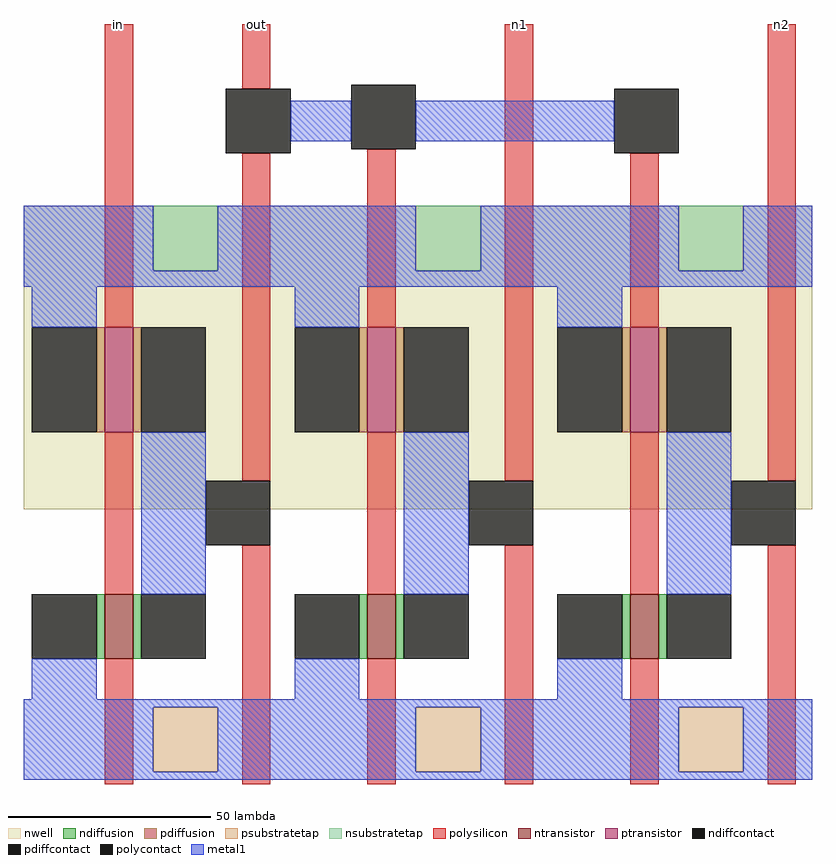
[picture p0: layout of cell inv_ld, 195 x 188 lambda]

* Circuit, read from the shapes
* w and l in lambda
.subckt inv_ld GND! Vdd! in n1 n2 out
M1 out in GND! VSUBS nfet w=16 l=7
M2 n1 out GND! VSUBS nfet w=16 l=7
M3 n2 out GND! VSUBS nfet w=16 l=7
M4 out in Vdd! n3 pfet w=26 l=7
M5 n1 out Vdd! n3 pfet w=26 l=7
M6 n2 out Vdd! n3 pfet w=26 l=7
.ends

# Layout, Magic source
magic
tech c035u
<< polysilicon >>
rect 20 144 27 188
rect 54 172 61 188
rect 54 144 61 156
rect 85 144 92 157
rect 119 144 126 188
rect 150 144 157 156
rect 184 144 191 188
<< polycontact >>
rect 50 156 66 172
rect 81 157 97 173
rect 146 156 162 172
<< metal1 >>
rect 66 159 81 169
rect 97 159 146 169
use inv inv_0
transform 1 0 0 0 1 0
box 0 0 65 144
use inv inv_1
transform 1 0 65 0 1 0
box 0 0 65 144
use inv inv_2
transform 1 0 130 0 1 0
box 0 0 65 144
<< labels >>
rlabel polysilicon 20 188 27 188 5 in
rlabel polysilicon 54 188 61 188 5 out
rlabel polysilicon 119 188 126 188 5 n1
rlabel polysilicon 184 188 191 188 5 n2
<< end >>

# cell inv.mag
magic
tech c035u
<< nwell >>
rect 0 68 65 143
<< polysilicon >>
rect 20 113 27 144
rect 20 47 27 87
rect 54 75 61 144
rect 20 0 27 31
rect 54 0 61 59
<< ndiffusion >>
rect 18 31 20 47
rect 27 31 29 47
<< pdiffusion >>
rect 18 87 20 113
rect 27 87 29 113
<< ntransistor >>
rect 20 31 27 47
<< ptransistor >>
rect 20 87 27 113
<< polycontact >>
rect 45 59 61 75
<< ndiffcontact >>
rect 2 31 18 47
rect 29 31 45 47
<< pdiffcontact >>
rect 2 87 18 113
rect 29 87 45 113
<< psubstratetap >>
rect 32 3 48 19
<< nsubstratetap >>
rect 32 127 48 143
<< metal1 >>
rect 0 127 32 143
rect 48 127 65 143
rect 0 123 65 127
rect 2 113 18 123
rect 29 47 45 87
rect 2 21 18 31
rect 0 19 65 21
rect 0 3 32 19
rect 48 3 65 19
rect 0 1 65 3
<< labels >>
rlabel metal1 0 123 0 143 3 Vdd!
rlabel metal1 0 1 0 21 3 GND!
rlabel metal1 65 123 65 143 7 Vdd!
rlabel metal1 65 1 65 21 7 GND!
rlabel polysilicon 20 144 27 144 5 in
rlabel polysilicon 54 144 61 144 5 out
rlabel polysilicon 20 0 27 0 1 in
rlabel polysilicon 54 0 61 0 1 out
<< end >>
